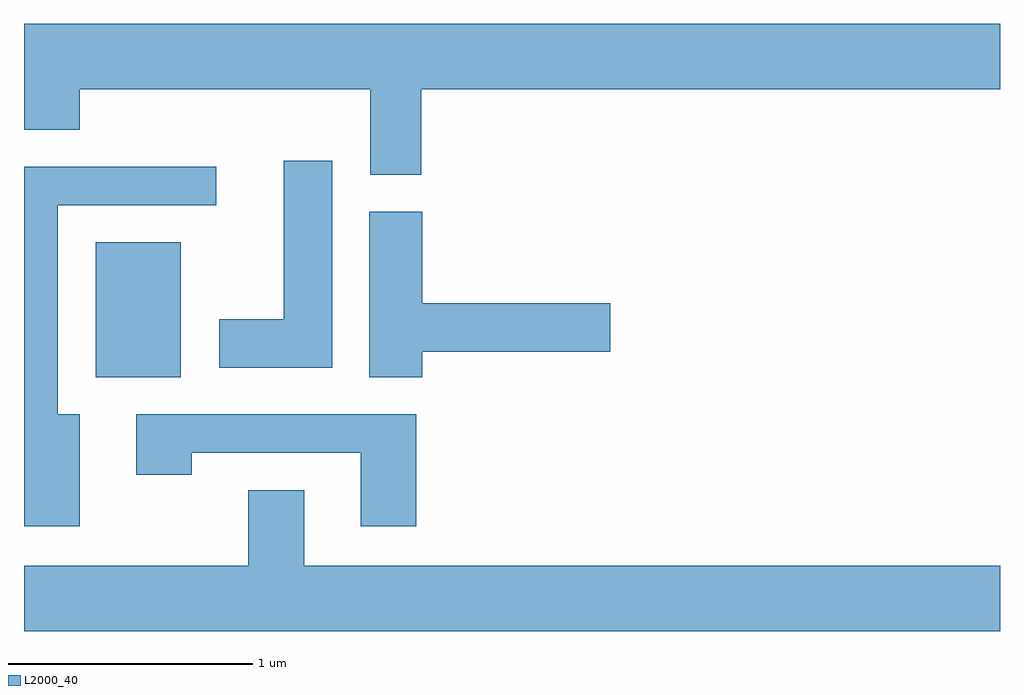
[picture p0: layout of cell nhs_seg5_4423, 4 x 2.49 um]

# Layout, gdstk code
import gdstk
lib = gdstk.Library(unit=1e-6, precision=1e-09)
def R(c, l, rs):  # rectangles x0, y0, x1, y1
    for r in rs: c.add(gdstk.rectangle(r[:2], r[2:], *l))
def P(c, l, *ps):  # polygons
    for p in ps: c.add(gdstk.Polygon(p, *l))
L2000_40 = (2000, 40)

nhs_seg5_4423 = lib.new_cell('nhs_seg5_4423')
R(nhs_seg5_4423, L2000_40, [(315.906,1517.776,316.254,1518.329)])
P(nhs_seg5_4423, L2000_40, [(317.239,1518.956),(319.611,1518.956),(319.611,1519.224),(315.611,1519.224),(315.611,1518.791),(315.839,1518.791),(315.839,1518.956),(317.031,1518.956),(317.031,1518.606),(317.239,1518.606)],
  [(316.874,1518.664),(316.676,1518.664),(316.676,1518.014),(316.411,1518.014),(316.411,1517.816),(316.874,1517.816)],
  [(315.839,1517.624),(315.749,1517.624),(315.749,1518.481),(316.398,1518.481),(316.398,1518.639),(315.611,1518.639),(315.611,1517.166),(315.839,1517.166)],
  [(317.244,1517.881),(318.014,1517.881),(318.014,1518.079),(317.244,1518.079),(317.244,1518.454),(317.026,1518.454),(317.026,1517.776),(317.244,1517.776)],
  [(317.219,1517.624),(316.071,1517.624),(316.071,1517.376),(316.299,1517.376),(316.299,1517.466),(316.991,1517.466),(316.991,1517.166),(317.219,1517.166)],
  [(319.611,1517.004),(316.759,1517.004),(316.759,1517.314),(316.531,1517.314),(316.531,1517.004),(315.611,1517.004),(315.611,1516.736),(319.611,1516.736)])

lib.write_gds('nhs_seg5_4423.gds')
